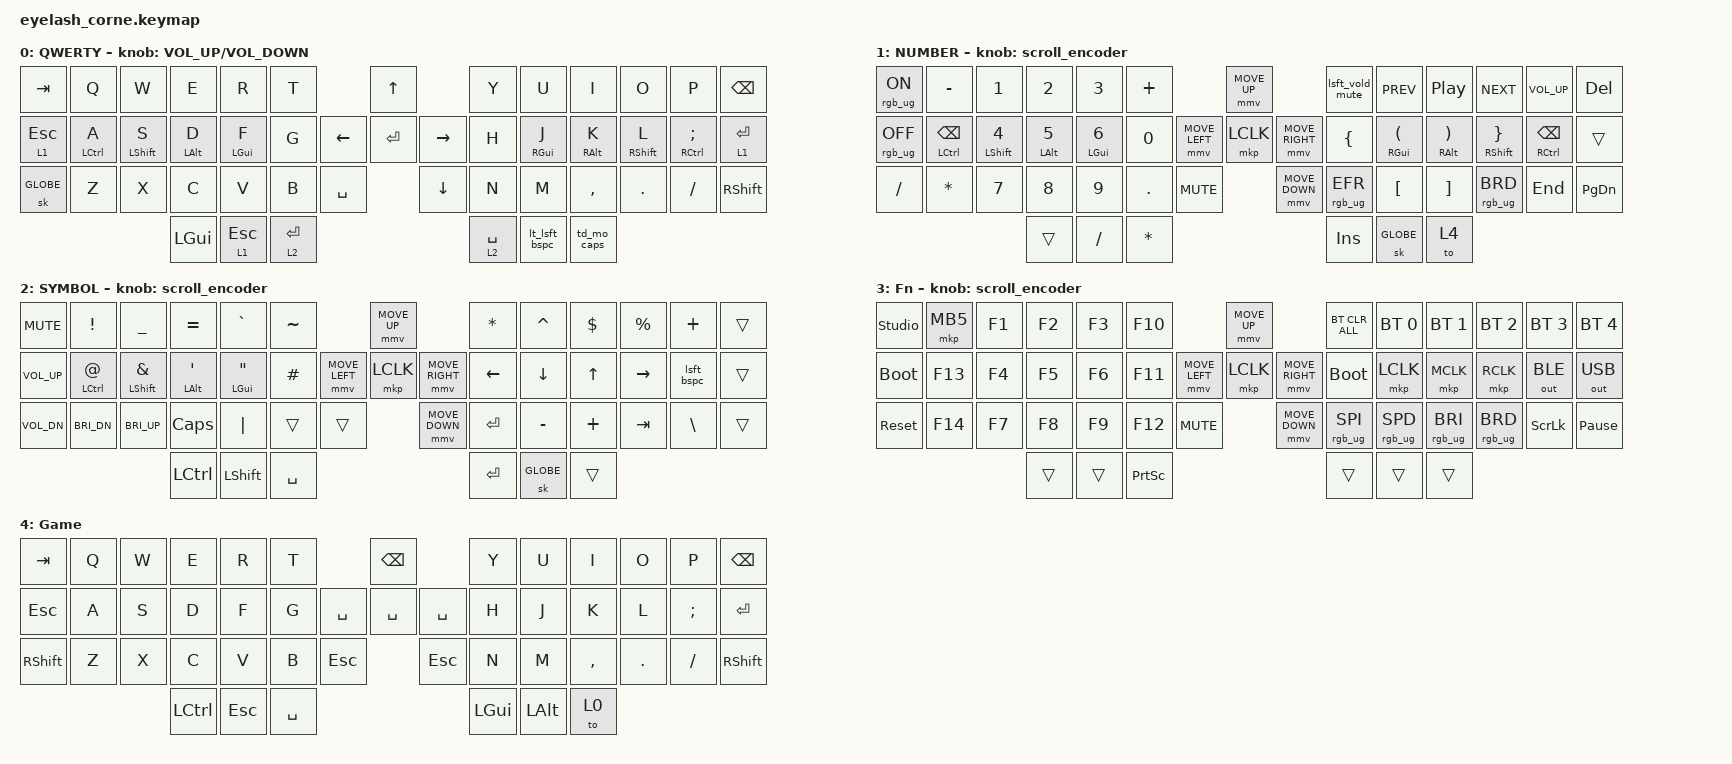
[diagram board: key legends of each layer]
#define ZMK_POINTING_DEFAULT_MOVE_VAL 1200  // 600
#define ZMK_POINTING_DEFAULT_SCRL_VAL 25   // 10
#define HM_TAPPING_TERM 200
#define HM_TAPPING_TERM_FAST 200

// Positional hold triggers for timeless-style homerow mods.
// Key positions are from eyelash_corne.json.

#define KEYS_L 0 1 2 3 4 5 13 14 15 16 17 18 28 29 30 31 32 33 34 23 24 25 26
#define KEYS_R 7 8 9 10 11 12 22 23 24 25 26 27 36 37 38 39 40 41 14 15 16 17
#define KEYS_T 42 43 44 45 46 47

#include <input/processors.dtsi>
#include <zephyr/dt-bindings/input/input-event-codes.h>
#include <behaviors.dtsi>
#include <dt-bindings/zmk/bt.h>
#include <dt-bindings/zmk/keys.h>
#include <dt-bindings/zmk/outputs.h>
#include <dt-bindings/zmk/pointing.h>
#include <dt-bindings/zmk/rgb.h>

&mmv_input_listener { input-processors = <&zip_xy_scaler 2 1>; };

&msc_input_listener { input-processors = <&zip_scroll_scaler 2 1>; };

&msc {
    acceleration-exponent = <1>;      // 0
    time-to-max-speed-ms = <100>;       // 300
    delay-ms = <0>;                   // 0
};

&mmv {
    time-to-max-speed-ms = <500>;
    acceleration-exponent = <1>;
    trigger-period-ms = <16>;
};

&mt { flavor = "balanced"; };

&lt { flavor = "balanced"; };

/ {
    behaviors {
        hm_l: homerow_mods_left {
            compatible = "zmk,behavior-hold-tap";
            #binding-cells = <2>;
            bindings = <&kp>, <&kp>;

            flavor = "balanced";
            tapping-term-ms = <HM_TAPPING_TERM>;
            quick-tap-ms = <200>;
            hold-trigger-key-positions = <KEYS_R KEYS_T>;
        };

        hm_r: homerow_mods_right {
            compatible = "zmk,behavior-hold-tap";
            #binding-cells = <2>;
            bindings = <&kp>, <&kp>;

            flavor = "balanced";
            tapping-term-ms = <HM_TAPPING_TERM>;
            quick-tap-ms = <200>;
            hold-trigger-key-positions = <KEYS_L KEYS_T>;
        };

        hm_shift_l: hm_shift_l {
            compatible = "zmk,behavior-hold-tap";
            #binding-cells = <2>;
            bindings = <&kp>, <&kp>;

            flavor = "balanced";
            tapping-term-ms = <HM_TAPPING_TERM_FAST>;
            quick-tap-ms = <200>;
            hold-trigger-key-positions = <KEYS_R KEYS_T>;
        };

        hm_shift_r: hm_shift_r {
            compatible = "zmk,behavior-hold-tap";
            #binding-cells = <2>;
            bindings = <&kp>, <&kp>;

            flavor = "balanced";
            tapping-term-ms = <HM_TAPPING_TERM_FAST>;
            quick-tap-ms = <200>;
            hold-trigger-key-positions = <KEYS_L KEYS_T>;
        };

        hm: homerow_mods {
            compatible = "zmk,behavior-hold-tap";
            #binding-cells = <2>;
            bindings = <&kp>, <&kp>;

            flavor = "balanced";
            tapping-term-ms = <HM_TAPPING_TERM>;
            quick-tap-ms = <200>;
        };

        lsft_bspc: lsft_bspc {
            compatible = "zmk,behavior-mod-morph";
            label = "LSFT_BSPC";
            bindings = <&kp BACKSPACE>, <&kp DELETE>;

            #binding-cells = <0>;
            mods = <(MOD_LSFT)>;
        };

        lt_lsft_bspc: lt_lsft_bspc {
            compatible = "zmk,behavior-mod-morph";
            label = "LT_LSFT_BSPC";
            bindings = <&lt 1 BACKSPACE>, <&kp DEL>;

            #binding-cells = <0>;
            mods = <(MOD_LSFT)>;
        };

        td_mo_caps: td_mo_caps {
            compatible = "zmk,behavior-tap-dance";
            label = "TD_MO_CAPS";
            #binding-cells = <0>;
            bindings = <&mo 3>, <&kp CAPS>;
        };

        lsft_vold_mute: lsft_vold_mute {
            compatible = "zmk,behavior-mod-morph";
            label = "LSFT_VOLD_MUTE";
            bindings = <&kp C_VOL_DN>, <&kp C_MUTE>;

            #binding-cells = <0>;
            mods = <(MOD_LCTL)>;
        };

        lsft_ast_perc: lsft_ast_perc {
            compatible = "zmk,behavior-mod-morph";
            label = "LSFT_AST_PERC";
            bindings = <&kp ASTRK>, <&kp PERCENT>;

            #binding-cells = <0>;
            mods = <(MOD_LSFT)>;
        };
    };

    rgb_encoder: rgb_encoder {
        compatible = "zmk,behavior-sensor-rotate";
        #sensor-binding-cells = <0>;
        bindings = <&rgb_ug RGB_BRI>, <&rgb_ug RGB_BRD>;
    };

    scroll_encoder: scroll_encoder {
        compatible = "zmk,behavior-sensor-rotate";
        #sensor-binding-cells = <0>;
        bindings = <&msc SCRL_DOWN>, <&msc SCRL_UP>;

        tap-ms = <100>;
    };

    combos {
        compatible = "zmk,combos";

        tab {
            bindings = <&hm_r RA(RSHFT) TAB>;
            key-positions = <25 24>;
            timeout-ms = <40>;
            layers = <0>;
        };

        lpar {
            bindings = <&kp LEFT_PARENTHESIS>;
            key-positions = <22 24>;
            timeout-ms = <25>;
            layers = <0>;
        };

        rpar {
            bindings = <&hm_r RG(RALT) RPAR>;
            key-positions = <23 24>;
            timeout-ms = <25>;
            layers = <0>;
        };

        minus {
            bindings = <&kp MINUS>;
            key-positions = <37 38>;
            timeout-ms = <25>;
            layers = <0 1>;
        };

        plus {
            bindings = <&kp PLUS>;
            key-positions = <38 39>;
            timeout-ms = <25>;
            layers = <0 1>;
        };

        undersc {
            bindings = <&hm_l LS(LALT) GRAVE>;
            key-positions = <15 16>;
            timeout-ms = <40>;
            layers = <0>;
        };

        single-quote {
            bindings = <&hm_l LA(LGUI) SINGLE_QUOTE>;
            key-positions = <16 17>;
            timeout-ms = <40>;
            layers = <0>;
        };

        star {
            bindings = <&lsft_ast_perc>;
            key-positions = <37 24>;
            timeout-ms = <25>;
            layers = <0 1>;
        };

        LCBR {
            bindings = <&kp LBRC>;
            key-positions = <22 25>;
            timeout-ms = <25>;
            layers = <0>;
        };

        rcbr {
            bindings = <&hm_r RG(RSHFT) RBRC>;
            key-positions = <23 25>;
            layers = <0>;
            timeout-ms = <25>;
        };

        hash {
            bindings = <&hm_l LG(LSHFT) HASH>;
            key-positions = <17 15>;
            timeout-ms = <40>;
            layers = <0>;
        };

        lbkt2 {
            bindings = <&kp LBKT>;
            key-positions = <23 38>;
            timeout-ms = <25>;
            layers = <0>;
        };

        rbkt2 {
            bindings = <&kp RBKT>;
            key-positions = <23 39>;
            timeout-ms = <25>;
            layers = <0>;
        };

        equal {
            bindings = <&kp EQUAL>;
            key-positions = <8 9>;
            timeout-ms = <25>;
            layers = <0>;
        };

        Tilde {
            bindings = <&kp TILDE>;
            key-positions = <31 32>;
            timeout-ms = <30>;
            layers = <0>;
        };

        underscore {
            bindings = <&hm_r RC(RSHFT) UNDER>;
            key-positions = <25 26>;
            timeout-ms = <25>;
            layers = <0>;
        };
    };

    keymap {
        compatible = "zmk,keymap";

        default_layer {
            display-name = "QWERTY";
            bindings = <
&kp TAB    &kp Q          &kp W                &kp E         &kp R         &kp T                               &kp UP                &kp Y        &kp U          &kp I         &kp O                 &kp P             &kp BSPC
&lt 1 ESC  &hm_l LCTRL A  &hm_shift_l LSHFT S  &hm_l LALT D  &hm_l LGUI F  &kp G                     &kp LEFT  &kp ENTER  &kp RIGHT  &kp H        &hm_r RGUI J   &hm_r RALT K  &hm_shift_r RSHIFT L  &hm_r RCTRL SEMI  &lt 1 ENTER
&sk GLOBE  &kp Z          &kp X                &kp C         &kp V         &kp B        &kp SPACE              &kp DOWN              &kp N        &kp M          &kp COMMA     &kp PERIOD            &kp SLASH         &kp RIGHT_SHIFT
                                               &kp LGUI      &lt 1 ESC     &lt 2 ENTER                                               &lt 2 SPACE  &lt_lsft_bspc  &td_mo_caps
            >;

            sensor-bindings = <&inc_dec_kp C_VOLUME_UP C_VOLUME_DOWN>;
        };

        lower_layer {
            display-name = "NUMBER";
            bindings = <
&rgb_ug RGB_ON   &kp MINUS         &kp N1                &kp N2         &kp N3               &kp PLUS                                 &mmv MOVE_UP                     &lsft_vold_mute  &kp C_PREV        &kp C_PLAY_PAUSE   &kp C_NEXT                      &kp C_VOL_UP           &kp DEL
&rgb_ug RGB_OFF  &hm_l LCTRL BSPC  &hm_shift_l LSHFT N4  &hm_l LALT N5  &hm_l LGUI NUMBER_6  &kp N0                   &mmv MOVE_LEFT  &mkp LCLK       &mmv MOVE_RIGHT  &kp LEFT_BRACE   &hm_r RGUI LPAR   &hm_r RALT RPAR    &hm_shift_r RSHIFT RIGHT_BRACE  &hm_r RCTRL BACKSPACE  &trans
&kp SLASH        &kp STAR          &kp N7                &kp N8         &kp N9               &kp DOT    &kp C_MUTE                    &mmv MOVE_DOWN                   &rgb_ug RGB_EFR  &kp LEFT_BRACKET  &kp RIGHT_BRACKET  &rgb_ug RGB_BRD                 &kp END                &kp PG_DN
                                                         &trans         &kp SLASH            &kp ASTRK                                                                 &kp INS          &sk GLOBE         &to 4
            >;

            sensor-bindings = <&scroll_encoder>;
        };

        raise_layer {
            display-name = "SYMBOL";
            bindings = <
&kp C_MUTE       &kp EXCL        &kp UNDERSCORE          &kp EQUAL       &kp GRAVE       &kp TILDE                            &mmv MOVE_UP                     &kp ASTERISK    &kp CARET       &kp DLLR      &kp PRCNT  &kp PLUS       &trans
&kp C_VOLUME_UP  &hm_l LCTRL AT  &hm_shift_l LSHFT AMPS  &hm_l LALT SQT  &hm_l LGUI DQT  &kp HASH             &mmv MOVE_LEFT  &mkp LCLK       &mmv MOVE_RIGHT  &kp LEFT_ARROW  &kp DOWN_ARROW  &kp UP_ARROW  &kp RIGHT  &lsft_bspc     &trans
&kp C_VOL_DN     &kp C_BRI_DN    &kp C_BRI_UP            &kp CAPS        &kp PIPE        &trans     &trans                    &mmv MOVE_DOWN                   &kp ENTER       &kp MINUS       &kp PLUS      &kp TAB    &kp BACKSLASH  &trans
                                                         &kp LCTRL       &kp LSHIFT      &kp SPACE                                                             &kp RET         &sk GLOBE       &trans
            >;

            sensor-bindings = <&scroll_encoder>;
        };

        layer_3 {
            display-name = "Fn";
            bindings = <
&studio_unlock  &mkp MB5  &kp F1  &kp F2  &kp F3  &kp F10                                        &mmv MOVE_UP                     &bt BT_CLR_ALL   &bt BT_SEL 0     &bt BT_SEL 1     &bt BT_SEL 2     &bt BT_SEL 3    &bt BT_SEL 4
&bootloader     &kp F13   &kp F4  &kp F5  &kp F6  &kp F11                        &mmv MOVE_LEFT  &mkp LCLK       &mmv MOVE_RIGHT  &bootloader      &mkp LCLK        &mkp MCLK        &mkp RCLK        &out OUT_BLE    &out OUT_USB
&sys_reset      &kp F14   &kp F7  &kp F8  &kp F9  &kp F12          &kp C_MUTE                    &mmv MOVE_DOWN                   &rgb_ug RGB_SPI  &rgb_ug RGB_SPD  &rgb_ug RGB_BRI  &rgb_ug RGB_BRD  &kp SCROLLLOCK  &kp PAUSE_BREAK
                                  &trans  &trans  &kp PRINTSCREEN                                                                 &trans           &trans           &trans
            >;

            sensor-bindings = <&scroll_encoder>;
        };

        Game {
            bindings = <
&kp TAB    &kp Q  &kp W  &kp E      &kp R    &kp T                            &kp BSPC              &kp Y     &kp U     &kp I      &kp O    &kp P     &kp BSPC
&kp ESC    &kp A  &kp S  &kp D      &kp F    &kp G                 &kp SPACE  &kp SPACE  &kp SPACE  &kp H     &kp J     &kp K      &kp L    &kp SEMI  &kp RET
&kp RSHFT  &kp Z  &kp X  &kp C      &kp V    &kp B      &kp ESC               &kp ESC               &kp N     &kp M     &kp COMMA  &kp DOT  &kp FSLH  &kp RSHFT
                         &kp LCTRL  &kp ESC  &kp SPACE                                              &kp LGUI  &kp LALT  &to 0
            >;
        };
    };
};
